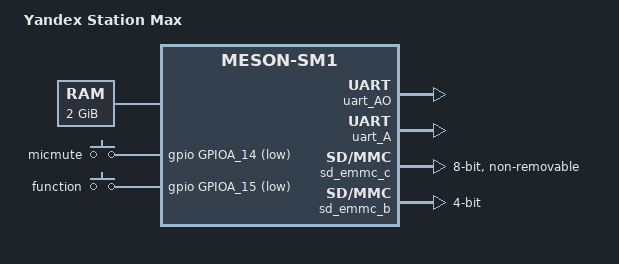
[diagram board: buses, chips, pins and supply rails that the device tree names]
// SPDX-License-Identifier: (GPL-2.0+ OR MIT)
/*
 * Yandex Station Max (Amlogic S905X3 / SM1) - U-Boot device tree
 *
 * Derived from arch/arm64/boot/dts/amlogic/meson-sm1-odroid.dtsi
 * (Copyright (c) 2020 Dongjin Kim <tobetter@gmail.com>).
 *
 * This tree is *only* for U-Boot.  The kernel tree lives in
 * mainline/dts/meson-sm1-yandex-station-max.dts and keeps the full
 * peripheral description (LED ring, SPI panel, audio, ...).
 *
 * Verified against: u-boot v2026.10, dts/upstream/src/arm64/amlogic/
 */

/dts-v1/;

#include <dt-bindings/gpio/gpio.h>
#include <dt-bindings/gpio/meson-g12a-gpio.h>
#include <dt-bindings/input/input.h>
#include "meson-sm1.dtsi"

/ {
	model = "Yandex Station Max";
	compatible = "yandex,station-max", "amlogic,sm1";

	aliases {
		serial0 = &uart_AO;
		serial1 = &uart_A;
		/* keep the kernel numbering: eMMC first, then the SD slot */
		mmc0 = &sd_emmc_c;
		mmc1 = &sd_emmc_b;
	};

	chosen {
		stdout-path = "serial0:115200n8";
	};

	memory@0 {
		device_type = "memory";
		reg = <0x0 0x0 0x0 0x80000000>;	/* 2 GiB LPDDR4 */
	};

	gpio-keys {
		compatible = "gpio-keys";

		key-micmute {
			label = "micmute";
			linux,code = <KEY_MICMUTE>;
			gpios = <&gpio GPIOA_14 GPIO_ACTIVE_LOW>;
		};

		key-function {
			label = "function";
			linux,code = <KEY_VOICECOMMAND>;	/* vendor key_code 0x246 */
			gpios = <&gpio GPIOA_15 GPIO_ACTIVE_LOW>;
		};
	};

	/*
	 * Not modelled on purpose (see mainline/docs/uboot.md):
	 *  - 20V_AMPL enable on GPIOX_9 - U-Boot must not switch the
	 *    speaker rail, the kernel regulator does that.
	 *  - BT reset on GPIOX_17 - left alone, the kernel/bt driver owns it.
	 * If a hook is ever needed, add e.g.
	 *
	 *	gpio-hog {
	 *		gpios = <&gpio GPIOX_17 GPIO_ACTIVE_HIGH>;
	 *		output-high;
	 *		line-name = "bt-reset";
	 *	};
	 */
};

/* UART_AO: debug console, 115200n8 */
&uart_AO {
	status = "okay";
	pinctrl-0 = <&uart_ao_a_pins>;
	pinctrl-names = "default";
};

/* UART_A: Bluetooth (RTL8822ES, H5, 3-wire), not used by U-Boot */
&uart_A {
	status = "okay";
	pinctrl-0 = <&uart_a_pins>;
	pinctrl-names = "default";
};

/* eMMC (sd_emmc_c) - the Android user area + boot0/boot1 */
&sd_emmc_c {
	status = "okay";
	/*
	 * "amlogic,meson-sm1-mmc" is a U-Boot-only compatible: it makes
	 * drivers/mmc/meson_gx_mmc.c use CLK_CO_PHASE_270, which is the
	 * stable setting on SM1 above 50 MHz.  Do not copy this into the
	 * kernel DTS (the Linux driver has no such compatible).
	 */
	compatible = "amlogic,meson-sm1-mmc", "amlogic,meson-axg-mmc";
	pinctrl-0 = <&emmc_ctrl_pins>, <&emmc_data_8b_pins>, <&emmc_ds_pins>;
	pinctrl-1 = <&emmc_clk_gate_pins>;
	pinctrl-names = "default", "clk-gate";
	bus-width = <8>;
	max-frequency = <200000000>;
	non-removable;
	disable-wp;
	cap-mmc-highspeed;
	mmc-hs200-1_8v;
};

/* microSD (sd_emmc_b) */
&sd_emmc_b {
	status = "okay";
	compatible = "amlogic,meson-sm1-mmc", "amlogic,meson-axg-mmc";
	pinctrl-0 = <&sdcard_c_pins>;
	pinctrl-1 = <&sdcard_clk_gate_c_pins>;
	pinctrl-names = "default", "clk-gate";
	bus-width = <4>;
	cap-sd-highspeed;
	disable-wp;
	max-frequency = <100000000>;
};
